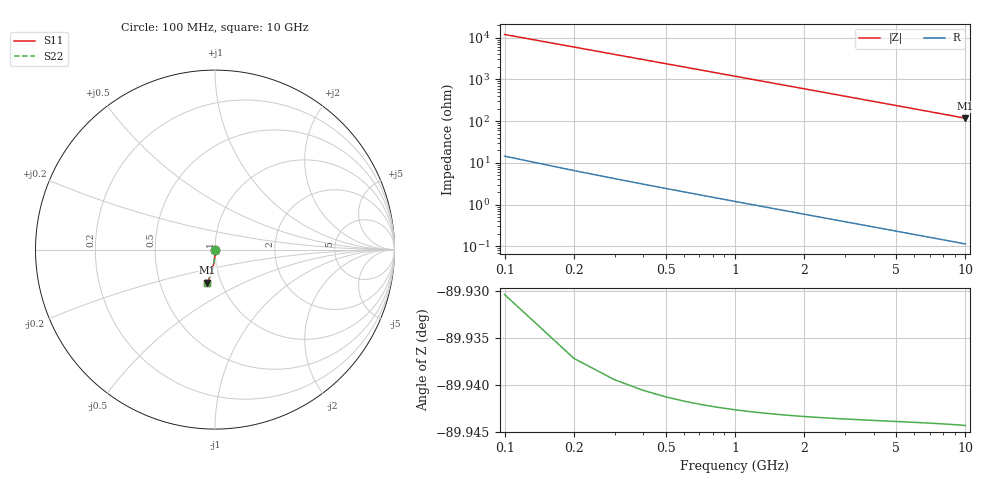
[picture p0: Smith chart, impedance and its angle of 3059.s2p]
# Hz S RI R 50.00
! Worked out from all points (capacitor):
!   100 points, 100 MHz to 10 GHz, reference 50 ohm
!   read as one part in shunt: C = 134 fF near 100 MHz
!   lowest |Z| = 118 ohm at 10 GHz (marker M1)
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1e8  4.83e-05 -0.0019  0.9999 -0.0023  0.9999 -0.0023  4.83e-05 -0.0019
2e8  3.35e-05 -0.0038  0.9999 -0.00459  0.9999 -0.00459  3.35e-05 -0.0038
3e8  9.95e-06 -0.0057  0.9999 -0.00689  0.9999 -0.00689  9.95e-06 -0.0057
4e8  -2.24e-05 -0.0076  0.9999 -0.00918  0.9999 -0.00918  -2.24e-05 -0.0076
5e8  -6.35e-05 -0.0095  0.9998 -0.0115  0.9998 -0.0115  -6.35e-05 -0.0095
6e8  -0.000113 -0.0114  0.9998 -0.0138  0.9998 -0.0138  -0.000113 -0.0114
7e8  -0.000172 -0.0133  0.9997 -0.0161  0.9997 -0.0161  -0.000172 -0.0133
8e8  -0.000239 -0.0152  0.9996 -0.0184  0.9996 -0.0184  -0.000239 -0.0152
9e8  -0.000316 -0.0171  0.9996 -0.0207  0.9996 -0.0207  -0.000316 -0.0171
1.1e9  -0.000494 -0.0209  0.9994 -0.0253  0.9994 -0.0253  -0.000494 -0.0209
1.4e9  -0.000828 -0.0266  0.999 -0.0322  0.999 -0.0322  -0.000828 -0.0266
1.8e9  -0.0014 -0.0342  0.9985 -0.0413  0.9985 -0.0413  -0.0014 -0.0342
2.1e9  -0.00191 -0.0399  0.9979 -0.0482  0.9979 -0.0482  -0.00191 -0.0399
2.5e9  -0.00273 -0.0475  0.9971 -0.0574  0.9971 -0.0574  -0.00273 -0.0475
2.9e9  -0.00368 -0.0551  0.9961 -0.0666  0.9961 -0.0666  -0.00368 -0.0551
3.4e9  -0.00507 -0.0645  0.9947 -0.078  0.9947 -0.078  -0.00507 -0.0645
4.2e9  -0.00775 -0.0796  0.992 -0.0963  0.992 -0.0963  -0.00775 -0.0796
5.1e9  -0.0114 -0.0964  0.9882 -0.1168  0.9882 -0.1168  -0.0114 -0.0964
5.9e9  -0.0153 -0.1112  0.9843 -0.1348  0.9843 -0.1348  -0.0153 -0.1112
6.7e9  -0.0197 -0.1259  0.9798 -0.1527  0.9798 -0.1527  -0.0197 -0.1259
8.4e9  -0.0308 -0.1563  0.9685 -0.1901  0.9685 -0.1901  -0.0308 -0.1563
1e10  -0.0433 -0.184  0.9557 -0.2243  0.9557 -0.2243  -0.0433 -0.184
